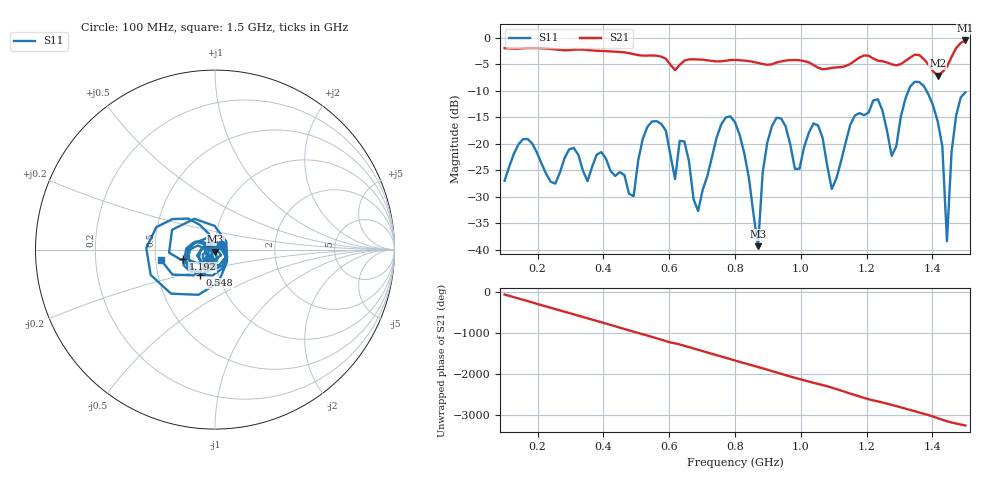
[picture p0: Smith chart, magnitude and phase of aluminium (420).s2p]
! NanoVNA-App
! Date: 2025-09-25 14:58:33
! Start: 100MHz Stop: 1,5GHz Points: 101
! S-Parameter data: F S11 S21 S12 S22
# Hz S RI R 50
!  Frequency  S11_Real  S11_Imag  S21_Real  S21_Imag  S12_Real  S12_Imag  S22_Real  S22_Imag
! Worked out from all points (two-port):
!   101 points, 100 MHz to 1.5 GHz, reference 50 ohm
!   highest |S21| = -0.48 dB at 1.5 GHz (marker M1); lowest = -7.1 dB at 1.416 GHz (marker M2)
!   |S21| within 3 dB of the highest: start of sweep to 571.7 MHz; 1.459 GHz to end of sweep (the widest 2 of 4)
!   lowest |S11| = -39.3 dB at 870 MHz (marker M3), VSWR 1.02, Z = 50.2 - j1.07 ohm
!   |S11| at or under -10 dB: start of sweep to 1.327 GHz; 1.382 GHz to end of sweep
!   S12 and S22 are empty: the file has one direction only
!   S11 on the Smith chart (normalised r, x): 100 MHz: 1.07, +0.06; 548 MHz: 0.82, -0.24; 1.192 GHz: 0.69, -0.07; 1.5 GHz: 0.53, -0.07
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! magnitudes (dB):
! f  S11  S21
! 100 MHz  -27.0  -1.9
! 156 MHz  -19.1  -2.0
! 338 MHz  -25.1  -2.2
! 492 MHz  -29.9  -3.1
! 548 MHz  -15.8  -3.3
! 576 MHz  -16.2  -3.5
! 618 MHz  -26.7  -6.1
! 646 MHz  -19.5  -4.3
! 688 MHz  -32.7  -4.1
! 800 MHz  -15.9  -4.2
! 870 MHz  -39.3  -4.7
! 912 MHz  -16.7  -5.0
! 996 MHz  -24.7  -4.2
! 1.038 GHz  -16.2  -5.1
! 1.094 GHz  -28.5  -5.7
! 1.192 GHz  -14.6  -3.3
! 1.276 GHz  -22.3  -5.0
! 1.346 GHz  -8.3  -3.2
! 1.416 GHz  -15.8  -7.1
! 1.444 GHz  -38.4  -5.4
! 1.458 GHz  -21.5  -3.6
! 1.5 GHz  -10.3  -0.5
